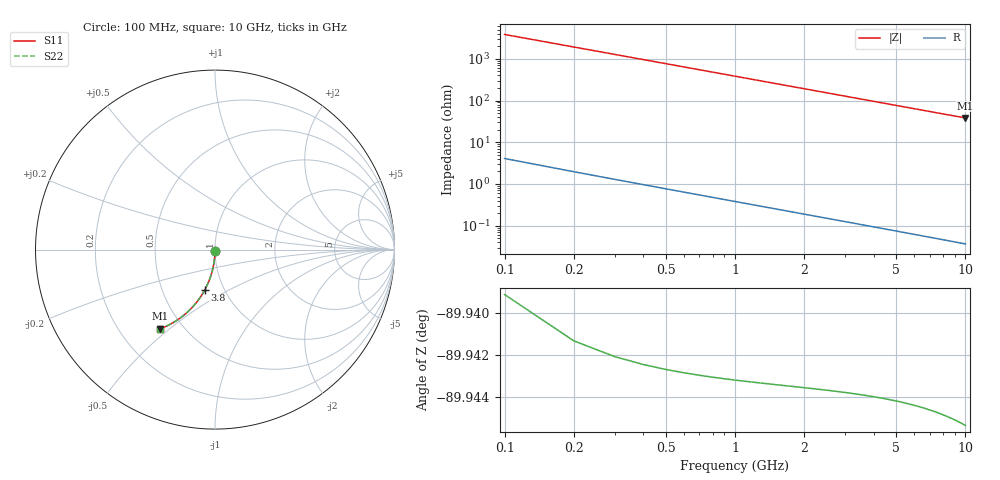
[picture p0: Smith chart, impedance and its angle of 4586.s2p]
# Hz S RI R 50.00
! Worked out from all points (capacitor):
!   100 points, 100 MHz to 10 GHz, reference 50 ohm
!   read as one part in shunt: C = 415 fF near 100 MHz
!   lowest |Z| = 38.3 ohm at 10 GHz (marker M1)
!   S11 on the Smith chart (normalised r, x): 100 MHz: 1.00, -0.01; 3.8 GHz: 0.81, -0.39; 10 GHz: 0.38, -0.47
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1e8  3.95e-06 -0.00633  0.9999 -0.0067  0.9999 -0.0067  3.95e-06 -0.00633
2e8  -0.000129 -0.0127  0.9998 -0.0134  0.9998 -0.0134  -0.000129 -0.0127
3e8  -0.000347 -0.019  0.9995 -0.0201  0.9995 -0.0201  -0.000347 -0.019
4e8  -0.00065 -0.0253  0.9992 -0.0268  0.9992 -0.0268  -0.00065 -0.0253
5e8  -0.00104 -0.0316  0.9989 -0.0335  0.9989 -0.0335  -0.00104 -0.0316
6e8  -0.00151 -0.0379  0.9984 -0.0401  0.9984 -0.0401  -0.00151 -0.0379
7e8  -0.00206 -0.0442  0.9978 -0.0468  0.9978 -0.0468  -0.00206 -0.0442
8e8  -0.0027 -0.0505  0.9972 -0.0535  0.9972 -0.0535  -0.0027 -0.0505
9e8  -0.00343 -0.0568  0.9965 -0.0601  0.9965 -0.0601  -0.00343 -0.0568
1.1e9  -0.00513 -0.0693  0.9948 -0.0733  0.9948 -0.0733  -0.00513 -0.0693
1.4e9  -0.00829 -0.0879  0.9916 -0.0931  0.9916 -0.0931  -0.00829 -0.0879
1.8e9  -0.0136 -0.1125  0.9862 -0.1191  0.9862 -0.1191  -0.0136 -0.1125
2.1e9  -0.0185 -0.1306  0.9814 -0.1383  0.9814 -0.1383  -0.0185 -0.1306
2.5e9  -0.026 -0.1543  0.9738 -0.1635  0.9738 -0.1635  -0.026 -0.1543
2.9e9  -0.0347 -0.1774  0.9651 -0.1882  0.9651 -0.1882  -0.0347 -0.1774
3.4e9  -0.0472 -0.2054  0.9526 -0.218  0.9526 -0.218  -0.0472 -0.2054
3.8e9  -0.0583 -0.2269  0.9415 -0.241  0.9415 -0.241  -0.0583 -0.2269
4.4e9  -0.0767 -0.2577  0.923 -0.274  0.923 -0.274  -0.0767 -0.2577
5.1e9  -0.1006 -0.291  0.8991 -0.31  0.8991 -0.31  -0.1006 -0.291
6.7e9  -0.1624 -0.356  0.8372 -0.381  0.8372 -0.381  -0.1624 -0.356
8.4e9  -0.2345 -0.4076  0.7649 -0.4392  0.7649 -0.4392  -0.2345 -0.4076
1e10  -0.3037 -0.4406  0.6955 -0.4784  0.6955 -0.4784  -0.3037 -0.4406
